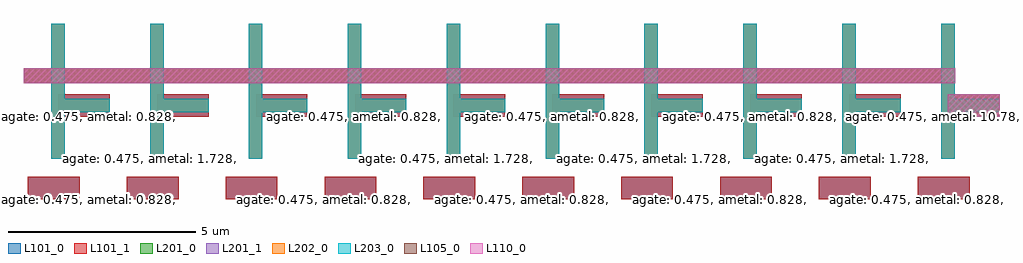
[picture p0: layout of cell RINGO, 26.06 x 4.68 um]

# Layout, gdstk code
import gdstk
lib = gdstk.Library(unit=1e-6, precision=1e-09)
def R(c, l, rs):  # rectangles x0, y0, x1, y1
    for r in rs: c.add(gdstk.rectangle(r[:2], r[2:], *l))
def A(c, l, x, y, w, h, nx, ny, dx, dy):  # array of equal rectangles
    R(c, l, [(x+i*dx, y+j*dy, x+i*dx+w, y+j*dy+h) for i in range(nx) for j in range(ny)])
def P(c, l, *ps):  # polygons
    for p in ps: c.add(gdstk.Polygon(p, *l))
L101_0 = (101, 0)
L101_1 = (101, 1)
L105_0 = (105, 0)
L110_0 = (110, 0)
L201_0 = (201, 0)
L201_1 = (201, 1)
L202_0 = (202, 0)
L203_0 = (203, 0)

ringo = lib.new_cell('RINGO')
A(ringo, L101_0, -1.6, -1.5, 1.38, 0.6, 10, 1, 2.64, 0)
A(ringo, L101_0, -0.8, 0.7, 1.38, 0.6, 10, 1, 2.64, 0)
R(ringo, L101_0, [(-1.72,1.6,23.16,2)])
A(ringo, L101_1, -1.6, -1.5, 1.38, 0.6, 10, 1, 2.64, 0)
A(ringo, L101_1, -0.8, 0.7, 1.38, 0.6, 10, 1, 2.64, 0)
R(ringo, L101_1, [(-1.72,1.6,23.16,2)])
R(ringo, L105_0, [(22.96,0.7,24.34,1.3), (-1.72,1.6,23.16,2)])
R(ringo, L110_0, [(22.96,0.7,24.34,1.3), (-1.72,1.6,23.16,2)])
P(ringo, L201_0, [(1.66,-0.42),(1.66,3.18),(2.02,3.18),(2.02,1.18),(3.22,1.18),(3.22,0.82),(2.02,0.82),(2.02,-0.42)],
  [(4.3,-0.42),(4.3,3.18),(4.66,3.18),(4.66,1.18),(5.86,1.18),(5.86,0.82),(4.66,0.82),(4.66,-0.42)],
  [(9.58,-0.42),(9.58,3.18),(9.94,3.18),(9.94,1.18),(11.14,1.18),(11.14,0.82),(9.94,0.82),(9.94,-0.42)],
  [(12.22,-0.42),(12.22,3.18),(12.58,3.18),(12.58,1.18),(13.78,1.18),(13.78,0.82),(12.58,0.82),(12.58,-0.42)],
  [(14.86,-0.42),(14.86,3.18),(15.22,3.18),(15.22,1.18),(16.42,1.18),(16.42,0.82),(15.22,0.82),(15.22,-0.42)],
  [(20.14,-0.42),(20.14,3.18),(20.5,3.18),(20.5,1.18),(21.7,1.18),(21.7,0.82),(20.5,0.82),(20.5,-0.42)],
  [(22.78,-0.42),(22.78,3.18),(23.14,3.18),(23.14,1.18),(24.34,1.18),(24.34,0.82),(23.14,0.82),(23.14,-0.42)],
  [(-0.98,-0.42),(-0.98,3.18),(-0.62,3.18),(-0.62,1.18),(0.58,1.18),(0.58,0.82),(-0.62,0.82),(-0.62,-0.42)],
  [(6.94,-0.42),(6.94,3.18),(7.3,3.18),(7.3,1.18),(8.5,1.18),(8.5,0.82),(7.3,0.82),(7.3,-0.42)],
  [(17.5,-0.42),(17.5,3.18),(17.86,3.18),(17.86,1.18),(19.06,1.18),(19.06,0.82),(17.86,0.82),(17.86,-0.42)])
P(ringo, L201_1, [(1.66,-0.42),(1.66,3.18),(2.02,3.18),(2.02,1.18),(3.22,1.18),(3.22,0.82),(2.02,0.82),(2.02,-0.42)],
  [(4.3,-0.42),(4.3,3.18),(4.66,3.18),(4.66,1.18),(5.86,1.18),(5.86,0.82),(4.66,0.82),(4.66,-0.42)],
  [(9.58,-0.42),(9.58,3.18),(9.94,3.18),(9.94,1.18),(11.14,1.18),(11.14,0.82),(9.94,0.82),(9.94,-0.42)],
  [(12.22,-0.42),(12.22,3.18),(12.58,3.18),(12.58,1.18),(13.78,1.18),(13.78,0.82),(12.58,0.82),(12.58,-0.42)],
  [(14.86,-0.42),(14.86,3.18),(15.22,3.18),(15.22,1.18),(16.42,1.18),(16.42,0.82),(15.22,0.82),(15.22,-0.42)],
  [(20.14,-0.42),(20.14,3.18),(20.5,3.18),(20.5,1.18),(21.7,1.18),(21.7,0.82),(20.5,0.82),(20.5,-0.42)],
  [(22.78,-0.42),(22.78,3.18),(23.14,3.18),(23.14,1.18),(24.34,1.18),(24.34,0.82),(23.14,0.82),(23.14,-0.42)],
  [(-0.98,-0.42),(-0.98,3.18),(-0.62,3.18),(-0.62,1.18),(0.58,1.18),(0.58,0.82),(-0.62,0.82),(-0.62,-0.42)],
  [(6.94,-0.42),(6.94,3.18),(7.3,3.18),(7.3,1.18),(8.5,1.18),(8.5,0.82),(7.3,0.82),(7.3,-0.42)],
  [(17.5,-0.42),(17.5,3.18),(17.86,3.18),(17.86,1.18),(19.06,1.18),(19.06,0.82),(17.86,0.82),(17.86,-0.42)])
P(ringo, L202_0, [(1.66,-0.42),(1.66,3.18),(2.02,3.18),(2.02,1.18),(3.22,1.18),(3.22,0.82),(2.02,0.82),(2.02,-0.42)],
  [(4.3,-0.42),(4.3,3.18),(4.66,3.18),(4.66,1.18),(5.86,1.18),(5.86,0.82),(4.66,0.82),(4.66,-0.42)],
  [(9.58,-0.42),(9.58,3.18),(9.94,3.18),(9.94,1.18),(11.14,1.18),(11.14,0.82),(9.94,0.82),(9.94,-0.42)],
  [(12.22,-0.42),(12.22,3.18),(12.58,3.18),(12.58,1.18),(13.78,1.18),(13.78,0.82),(12.58,0.82),(12.58,-0.42)],
  [(14.86,-0.42),(14.86,3.18),(15.22,3.18),(15.22,1.18),(16.42,1.18),(16.42,0.82),(15.22,0.82),(15.22,-0.42)],
  [(20.14,-0.42),(20.14,3.18),(20.5,3.18),(20.5,1.18),(21.7,1.18),(21.7,0.82),(20.5,0.82),(20.5,-0.42)],
  [(22.78,-0.42),(22.78,3.18),(23.14,3.18),(23.14,1.18),(24.34,1.18),(24.34,0.82),(23.14,0.82),(23.14,-0.42)],
  [(-0.98,-0.42),(-0.98,3.18),(-0.62,3.18),(-0.62,1.18),(0.58,1.18),(0.58,0.82),(-0.62,0.82),(-0.62,-0.42)],
  [(6.94,-0.42),(6.94,3.18),(7.3,3.18),(7.3,1.18),(8.5,1.18),(8.5,0.82),(7.3,0.82),(7.3,-0.42)],
  [(17.5,-0.42),(17.5,3.18),(17.86,3.18),(17.86,1.18),(19.06,1.18),(19.06,0.82),(17.86,0.82),(17.86,-0.42)])
P(ringo, L203_0, [(1.66,-0.42),(1.66,3.18),(2.02,3.18),(2.02,1.18),(3.22,1.18),(3.22,0.82),(2.02,0.82),(2.02,-0.42)],
  [(4.3,-0.42),(4.3,3.18),(4.66,3.18),(4.66,1.18),(5.86,1.18),(5.86,0.82),(4.66,0.82),(4.66,-0.42)],
  [(9.58,-0.42),(9.58,3.18),(9.94,3.18),(9.94,1.18),(11.14,1.18),(11.14,0.82),(9.94,0.82),(9.94,-0.42)],
  [(12.22,-0.42),(12.22,3.18),(12.58,3.18),(12.58,1.18),(13.78,1.18),(13.78,0.82),(12.58,0.82),(12.58,-0.42)],
  [(14.86,-0.42),(14.86,3.18),(15.22,3.18),(15.22,1.18),(16.42,1.18),(16.42,0.82),(15.22,0.82),(15.22,-0.42)],
  [(20.14,-0.42),(20.14,3.18),(20.5,3.18),(20.5,1.18),(21.7,1.18),(21.7,0.82),(20.5,0.82),(20.5,-0.42)],
  [(22.78,-0.42),(22.78,3.18),(23.14,3.18),(23.14,1.18),(24.34,1.18),(24.34,0.82),(23.14,0.82),(23.14,-0.42)],
  [(-0.98,-0.42),(-0.98,3.18),(-0.62,3.18),(-0.62,1.18),(0.58,1.18),(0.58,0.82),(-0.62,0.82),(-0.62,-0.42)],
  [(6.94,-0.42),(6.94,3.18),(7.3,3.18),(7.3,1.18),(8.5,1.18),(8.5,0.82),(7.3,0.82),(7.3,-0.42)],
  [(17.5,-0.42),(17.5,3.18),(17.86,3.18),(17.86,1.18),(19.06,1.18),(19.06,0.82),(17.86,0.82),(17.86,-0.42)])
ringo.add(gdstk.Label('agate: 0.475, ametal: 1.728, ratio: 3.6378947368421, max_ratio: 1', (1.66,-0.42), layer=201, texttype=10))
ringo.add(gdstk.Label('agate: 0.475, ametal: 1.728, ratio: 3.6378947368421, max_ratio: 1', (4.3,-0.42), layer=201, texttype=10))
ringo.add(gdstk.Label('agate: 0.475, ametal: 1.728, ratio: 3.6378947368421, max_ratio: 1', (9.58,-0.42), layer=201, texttype=10))
ringo.add(gdstk.Label('agate: 0.475, ametal: 1.728, ratio: 3.6378947368421, max_ratio: 1', (12.22,-0.42), layer=201, texttype=10))
ringo.add(gdstk.Label('agate: 0.475, ametal: 1.728, ratio: 3.6378947368421, max_ratio: 1', (14.86,-0.42), layer=201, texttype=10))
ringo.add(gdstk.Label('agate: 0.475, ametal: 1.728, ratio: 3.6378947368421, max_ratio: 1', (20.14,-0.42), layer=201, texttype=10))
ringo.add(gdstk.Label('agate: 0.475, ametal: 1.728, ratio: 3.6378947368421, max_ratio: 1', (22.78,-0.42), layer=201, texttype=10))
ringo.add(gdstk.Label('agate: 0.475, ametal: 1.728, ratio: 3.6378947368421, max_ratio: 1', (-0.98,-0.42), layer=201, texttype=10))
ringo.add(gdstk.Label('agate: 0.475, ametal: 1.728, ratio: 3.6378947368421, max_ratio: 1', (6.94,-0.42), layer=201, texttype=10))
ringo.add(gdstk.Label('agate: 0.475, ametal: 1.728, ratio: 3.6378947368421, max_ratio: 1', (17.5,-0.42), layer=201, texttype=10))
ringo.add(gdstk.Label('agate: 0.475, ametal: 0.828, ratio: 1.74315789473684, max_ratio: 1', (-1.6,-1.5), layer=101, texttype=10))
ringo.add(gdstk.Label('agate: 0.475, ametal: 0.828, ratio: 1.74315789473684, max_ratio: 1', (1.04,-1.5), layer=101, texttype=10))
ringo.add(gdstk.Label('agate: 0.475, ametal: 0.828, ratio: 1.74315789473684, max_ratio: 1', (3.68,-1.5), layer=101, texttype=10))
ringo.add(gdstk.Label('agate: 0.475, ametal: 0.828, ratio: 1.74315789473684, max_ratio: 1', (6.32,-1.5), layer=101, texttype=10))
ringo.add(gdstk.Label('agate: 0.475, ametal: 0.828, ratio: 1.74315789473684, max_ratio: 1', (8.96,-1.5), layer=101, texttype=10))
ringo.add(gdstk.Label('agate: 0.475, ametal: 0.828, ratio: 1.74315789473684, max_ratio: 1', (11.6,-1.5), layer=101, texttype=10))
ringo.add(gdstk.Label('agate: 0.475, ametal: 0.828, ratio: 1.74315789473684, max_ratio: 1', (14.24,-1.5), layer=101, texttype=10))
ringo.add(gdstk.Label('agate: 0.475, ametal: 0.828, ratio: 1.74315789473684, max_ratio: 1', (16.88,-1.5), layer=101, texttype=10))
ringo.add(gdstk.Label('agate: 0.475, ametal: 0.828, ratio: 1.74315789473684, max_ratio: 1', (19.52,-1.5), layer=101, texttype=10))
ringo.add(gdstk.Label('agate: 0.475, ametal: 0.828, ratio: 1.74315789473684, max_ratio: 1', (22.16,-1.5), layer=101, texttype=10))
ringo.add(gdstk.Label('agate: 0.475, ametal: 0.828, ratio: 1.74315789473684, max_ratio: 1', (-0.8,0.7), layer=101, texttype=10))
ringo.add(gdstk.Label('agate: 0.475, ametal: 0.828, ratio: 1.74315789473684, max_ratio: 1', (1.84,0.7), layer=101, texttype=10))
ringo.add(gdstk.Label('agate: 0.475, ametal: 0.828, ratio: 1.74315789473684, max_ratio: 1', (4.48,0.7), layer=101, texttype=10))
ringo.add(gdstk.Label('agate: 0.475, ametal: 0.828, ratio: 1.74315789473684, max_ratio: 1', (7.12,0.7), layer=101, texttype=10))
ringo.add(gdstk.Label('agate: 0.475, ametal: 0.828, ratio: 1.74315789473684, max_ratio: 1', (9.76,0.7), layer=101, texttype=10))
ringo.add(gdstk.Label('agate: 0.475, ametal: 0.828, ratio: 1.74315789473684, max_ratio: 1', (12.4,0.7), layer=101, texttype=10))
ringo.add(gdstk.Label('agate: 0.475, ametal: 0.828, ratio: 1.74315789473684, max_ratio: 1', (15.04,0.7), layer=101, texttype=10))
ringo.add(gdstk.Label('agate: 0.475, ametal: 0.828, ratio: 1.74315789473684, max_ratio: 1', (17.68,0.7), layer=101, texttype=10))
ringo.add(gdstk.Label('agate: 0.475, ametal: 0.828, ratio: 1.74315789473684, max_ratio: 1', (20.32,0.7), layer=101, texttype=10))
ringo.add(gdstk.Label('agate: 0.475, ametal: 10.78, ratio: 22.6947368421053, max_ratio: 1', (22.96,0.7), layer=101, texttype=10))

lib.write_gds('RINGO.gds')
